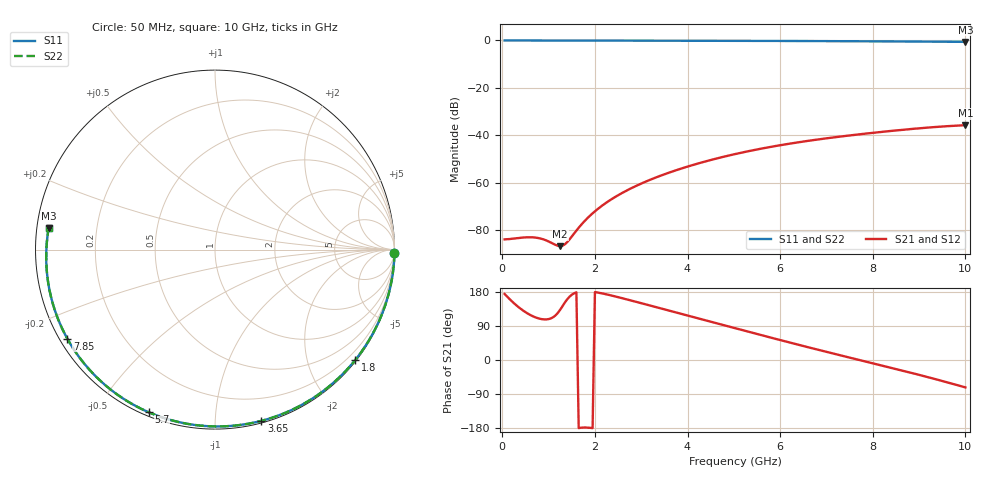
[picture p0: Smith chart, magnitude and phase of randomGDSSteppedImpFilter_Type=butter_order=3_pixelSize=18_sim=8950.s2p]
! freq	dB(S11)	phase(S11)	dB(S12)	phase(S12)
!  dB(S21)	phase(S21)	dB(S22)	phase(S22)
!S-par simulation data
#  GHz  S  DB  R 50
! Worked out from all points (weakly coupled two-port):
!   200 points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, 50 MHz to 10 GHz, reference 50 ohm
!   highest |S21| = -35.75 dB at 10 GHz (marker M1); lowest = -86.8 dB at 1.25 GHz (marker M2)
!   lowest |S11| = -0.6 dB at 10 GHz (marker M3), VSWR 29.47, Z = 1.7 + j3.22 ohm
!   |S11| at or under -10 dB: nowhere
!   |S22| runs from -0.6 to 0.0 dB; largest |S21 - S12| = 0
!   S11 on the Smith chart (normalised r, x): 50 MHz: open; 1.8 GHz: 0.03, -2.89; 3.65 GHz: 0.02, -1.31; 5.7 GHz: 0.02, -0.67; 7.85 GHz: 0.02, -0.28; 10 GHz: 0.03, +0.06
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0.05  -0.00 -1.1  -83.88 174.3  -83.88 174.3  -0.00 -1.1
0.65  -0.01 -14.0  -83.02 116.0  -83.02 116.0  -0.01 -14.0
1.25  -0.03 -26.7  -86.75 132.6  -86.75 132.6  -0.03 -26.7
1.6  -0.04 -34.0  -80.16 178.6  -80.16 178.6  -0.04 -34.0
1.75  -0.05 -37.1  -76.72 -178.2  -76.72 -178.2  -0.05 -37.1
1.8  -0.05 -38.2  -75.69 -178.2  -75.69 -178.2  -0.05 -38.2
1.95  -0.05 -41.2  -72.89 -179.8  -72.89 -179.8  -0.05 -41.2
2.1  -0.06 -44.3  -70.47 177.1  -70.47 177.1  -0.06 -44.3
2.45  -0.07 -51.4  -65.85 167.4  -65.85 167.4  -0.07 -51.4
2.9  -0.08 -60.3  -61.24 153.2  -61.24 153.2  -0.08 -60.4
3.4  -0.09 -70.1  -57.16 136.9  -57.16 136.9  -0.09 -70.1
3.65  -0.10 -74.9  -55.41 128.8  -55.41 128.8  -0.10 -74.9
4.35  -0.13 -87.9  -51.21 106.0  -51.21 106.0  -0.13 -88.0
5.05  -0.15 -100.6  -47.81 83.2  -47.81 83.2  -0.15 -100.6
5.7  -0.19 -112.1  -45.22 62.2  -45.22 62.2  -0.19 -112.1
6.2  -0.22 -120.7  -43.54 46.3  -43.54 46.3  -0.22 -120.8
6.7  -0.25 -129.3  -42.07 30.7  -42.07 30.7  -0.25 -129.3
7.3  -0.30 -139.6  -40.53 12.4  -40.53 12.4  -0.30 -139.6
7.85  -0.35 -149.0  -39.28 -4.1  -39.28 -4.1  -0.35 -149.0
8.35  -0.40 -157.6  -38.24 -19.1  -38.24 -19.1  -0.40 -157.6
9.2  -0.49 -172.6  -36.72 -45.6  -36.72 -45.6  -0.49 -172.7
10  -0.59 172.6  -35.75 -72.3  -35.75 -72.3  -0.59 172.6
